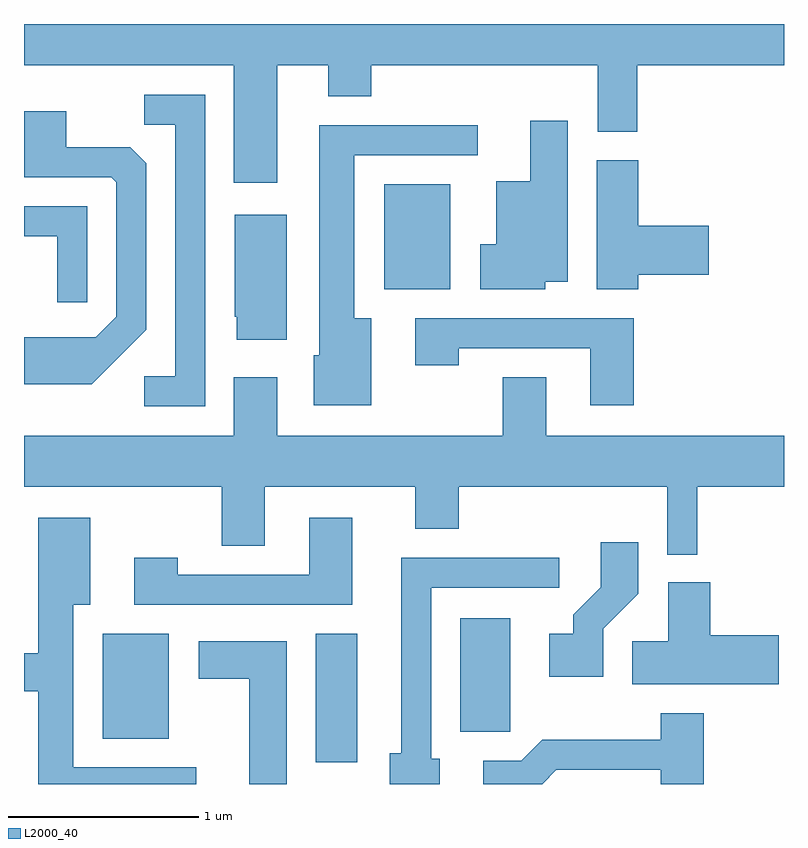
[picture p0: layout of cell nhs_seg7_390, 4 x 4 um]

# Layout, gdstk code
import gdstk
lib = gdstk.Library(unit=1e-6, precision=1e-09)
def R(c, l, rs):  # rectangles x0, y0, x1, y1
    for r in rs: c.add(gdstk.rectangle(r[:2], r[2:], *l))
def P(c, l, *ps):  # polygons
    for p in ps: c.add(gdstk.Polygon(p, *l))
L2000_40 = (2000, 40)

nhs_seg7_390 = lib.new_cell('nhs_seg7_390')
R(nhs_seg7_390, L2000_40, [(197.146,1768.366,197.364,1769.044), (196.026,1768.491,196.374,1769.044), (197.906,1768.526,198.169,1769.124), (197.506,1770.856,197.854,1771.409)])
P(nhs_seg7_390, L2000_40, [(196.944,1772.036),(197.211,1772.036),(197.211,1771.871),(197.439,1771.871),(197.439,1772.036),(198.631,1772.036),(198.631,1771.686),(198.839,1771.686),(198.839,1772.036),(199.611,1772.036),(199.611,1772.252),(195.611,1772.252),(195.611,1772.036),(196.716,1772.036),(196.716,1771.416),(196.944,1771.416)],
  [(196.564,1771.879),(196.243,1771.879),(196.243,1771.721),(196.406,1771.721),(196.406,1770.399),(196.243,1770.399),(196.243,1770.241),(196.564,1770.241)],
  [(196.254,1770.644),(196.254,1771.519),(196.169,1771.604),(195.834,1771.604),(195.834,1771.794),(195.611,1771.794),(195.611,1771.446),(196.069,1771.446),(196.096,1771.419),(196.096,1770.712),(195.989,1770.604),(195.611,1770.604),(195.611,1770.356),(195.967,1770.356)],
  [(198.354,1770.896),(198.474,1770.896),(198.474,1771.744),(198.276,1771.744),(198.276,1771.424),(198.096,1771.424),(198.096,1771.094),(198.011,1771.094),(198.011,1770.856),(198.354,1770.856)],
  [(197.439,1770.704),(197.349,1770.704),(197.349,1771.561),(197.998,1771.561),(197.998,1771.719),(197.166,1771.719),(197.166,1770.509),(197.136,1770.509),(197.136,1770.246),(197.439,1770.246)],
  [(198.844,1770.931),(199.214,1770.931),(199.214,1771.189),(198.844,1771.189),(198.844,1771.534),(198.626,1771.534),(198.626,1770.856),(198.844,1770.856)],
  [(195.944,1771.294),(195.611,1771.294),(195.611,1771.136),(195.786,1771.136),(195.786,1770.788),(195.944,1770.788)],
  [(196.994,1771.249),(196.721,1771.249),(196.721,1770.71),(196.731,1770.71),(196.731,1770.591),(196.994,1770.591)],
  [(198.819,1770.704),(197.671,1770.704),(197.671,1770.456),(197.899,1770.456),(197.899,1770.546),(198.591,1770.546),(198.591,1770.246),(198.819,1770.246)],
  [(199.154,1769.816),(199.611,1769.816),(199.611,1770.084),(198.359,1770.084),(198.359,1770.394),(198.131,1770.394),(198.131,1770.084),(196.944,1770.084),(196.944,1770.394),(196.716,1770.394),(196.716,1770.084),(195.611,1770.084),(195.611,1769.816),(196.651,1769.816),(196.651,1769.506),(196.879,1769.506),(196.879,1769.816),(197.671,1769.816),(197.671,1769.596),(197.899,1769.596),(197.899,1769.816),(198.996,1769.816),(198.996,1769.458),(199.154,1769.458)],
  [(196.518,1768.339),(195.869,1768.339),(195.869,1769.196),(195.959,1769.196),(195.959,1769.654),(195.686,1769.654),(195.686,1768.939),(195.611,1768.939),(195.611,1768.741),(195.686,1768.741),(195.686,1768.252),(196.518,1768.252)],
  [(197.339,1769.654),(197.111,1769.654),(197.111,1769.354),(196.419,1769.354),(196.419,1769.444),(196.191,1769.444),(196.191,1769.196),(197.339,1769.196)],
  [(198.659,1769.069),(198.844,1769.254),(198.844,1769.524),(198.646,1769.524),(198.646,1769.287),(198.501,1769.142),(198.501,1769.044),(198.376,1769.044),(198.376,1768.816),(198.659,1768.816)],
  [(197.799,1768.384),(197.754,1768.384),(197.754,1769.286),(198.428,1769.286),(198.428,1769.444),(197.596,1769.444),(197.596,1768.414),(197.536,1768.414),(197.536,1768.252),(197.799,1768.252)],
  [(199.584,1769.034),(199.224,1769.034),(199.224,1769.314),(199.001,1769.314),(199.001,1769.004),(198.811,1769.004),(198.811,1768.776),(199.584,1768.776)],
  [(196.994,1769.004),(196.531,1769.004),(196.531,1768.806),(196.796,1768.806),(196.796,1768.252),(196.994,1768.252)],
  [(198.412,1768.326),(198.961,1768.326),(198.961,1768.252),(199.189,1768.252),(199.189,1768.624),(198.961,1768.624),(198.961,1768.484),(198.339,1768.484),(198.229,1768.374),(198.028,1768.374),(198.028,1768.252),(198.338,1768.252)])

lib.write_gds('nhs_seg7_390.gds')
